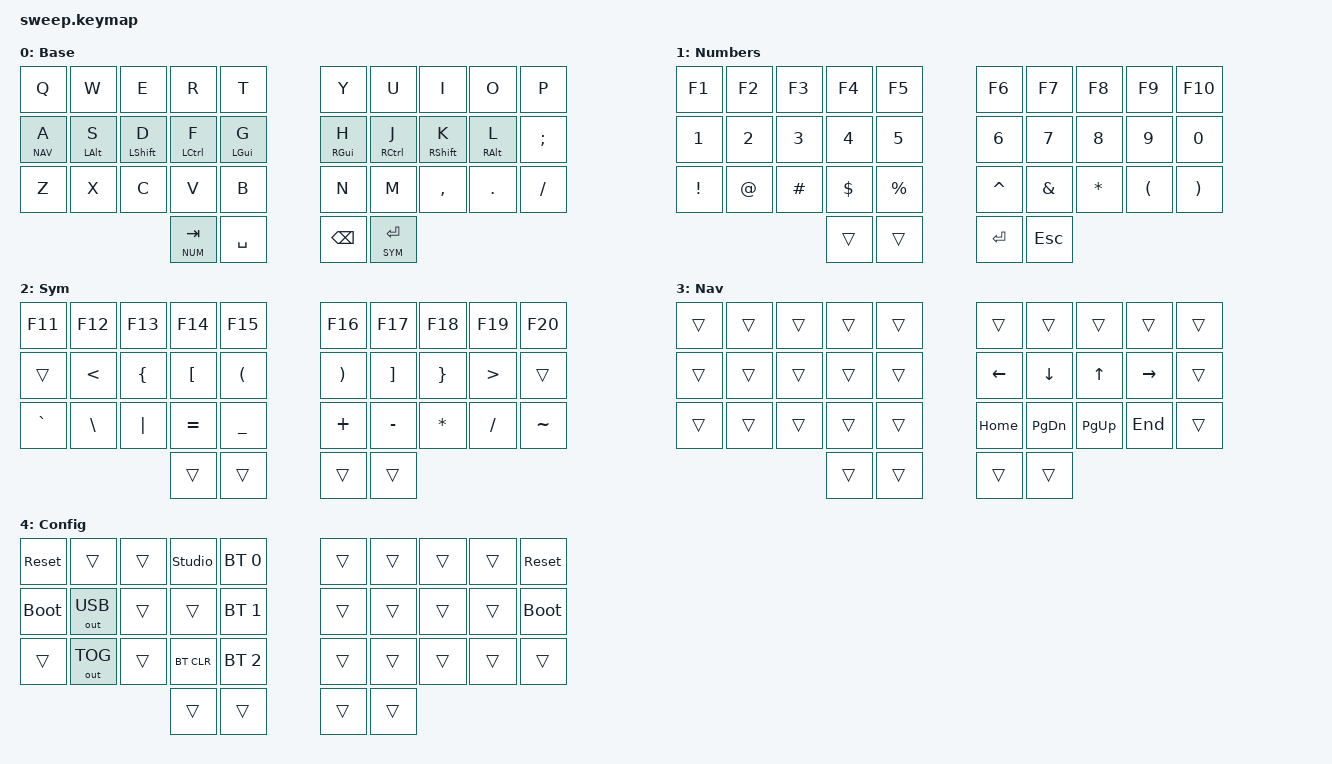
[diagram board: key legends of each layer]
// Copyright (c) 2022 The ZMK Contributors
// SPDX-License-Identifier: MIT

#include <behaviors.dtsi>
#include <dt-bindings/zmk/bt.h>
#include <dt-bindings/zmk/keys.h>
#include <dt-bindings/zmk/outputs.h>

#define DEFAULT 0
#define NUM     1
#define SYM     2
#define NAV     3
#define CFG     4

/ {
    behaviors {
        ht: hold_tap {
            label = "hold_tap";
            compatible = "zmk,behavior-hold-tap";
            #binding-cells = <2>;
            flavor = "tap-preferred";
            tapping-term-ms = <180>;
            require-prior-idle-ms = <80>;
            quick-tap-ms = <50>;
            global-quick-tap;
            bindings = <&kp>, <&kp>;
        };

        st: shift_tap {
            label = "shift_tap";
            compatible = "zmk,behavior-hold-tap";
            #binding-cells = <2>;
            flavor = "tap-preferred";
            tapping-term-ms = <120>;
            bindings = <&kp>, <&kp>;
        };
    };

    // Unicode entry via the Linux/IBus "Ctrl+Shift+U <hex> Enter" method,
    // for Russian letters with no good phonetic English-layout equivalent.
    // Needs an IBus-style unicode input method to be active in the OS to
    // work -- verify once flashed, this doesn't work in every app/DE.
    macros {
        ru_yo: ru_yo {
            // ё U+0451
            compatible = "zmk,behavior-macro";
            #binding-cells = <0>;
            bindings
                = <&macro_press &kp LCTRL &kp LSHIFT>
                , <&macro_tap &kp U>
                , <&macro_release &kp LCTRL &kp LSHIFT>
                , <&macro_tap &kp N0 &kp N4 &kp N5 &kp N1>
                , <&macro_tap &kp ENTER>
                ;
        };

        ru_hard_sign: ru_hard_sign {
            // ъ U+044A
            compatible = "zmk,behavior-macro";
            #binding-cells = <0>;
            bindings
                = <&macro_press &kp LCTRL &kp LSHIFT>
                , <&macro_tap &kp U>
                , <&macro_release &kp LCTRL &kp LSHIFT>
                , <&macro_tap &kp N0 &kp N4 &kp N4 &kp A>
                , <&macro_tap &kp ENTER>
                ;
        };

        ru_kha: ru_kha {
            // х U+0445
            compatible = "zmk,behavior-macro";
            #binding-cells = <0>;
            bindings
                = <&macro_press &kp LCTRL &kp LSHIFT>
                , <&macro_tap &kp U>
                , <&macro_release &kp LCTRL &kp LSHIFT>
                , <&macro_tap &kp N0 &kp N4 &kp N4 &kp N5>
                , <&macro_tap &kp ENTER>
                ;
        };
    };

    conditional_layers {
        compatible = "zmk,conditional-layers";

        both_layer {
            if-layers = <NUM SYM>;
            then-layer = <CFG>;
        };
    };

    combos {
        compatible = "zmk,combos";

        combo_esc {
            timeout-ms = <40>;
            key-positions = <3 4>;
            bindings = <&kp ESC>;
            layers = <DEFAULT>;
            require-prior-idle-ms = <250>;
        };

        combo_apos {
            timeout-ms = <40>;
            key-positions = <18 19>;
            bindings = <&kp SQT>;
            layers = <DEFAULT>;
            require-prior-idle-ms = <250>;
        };

        combo_capsword {
            timeout-ms = <40>;
            key-positions = <20 29>;
            bindings = <&caps_word>;
        };

        // Extra Russian letters, typing layer only. Positions are free
        // pairs not used by any other combo above.
        combo_ru_yo {
            timeout-ms = <40>;
            key-positions = <20 21>;
            bindings = <&ru_yo>;
            layers = <DEFAULT>;
            require-prior-idle-ms = <250>;
        };

        combo_ru_hard_sign {
            timeout-ms = <40>;
            key-positions = <28 29>;
            bindings = <&ru_hard_sign>;
            layers = <DEFAULT>;
            require-prior-idle-ms = <250>;
        };

        combo_ru_kha {
            timeout-ms = <40>;
            key-positions = <8 9>;
            bindings = <&ru_kha>;
            layers = <DEFAULT>;
            require-prior-idle-ms = <250>;
        };
    };

    keymap {
        compatible = "zmk,keymap";

        default_layer {
            display-name = "Base";
            bindings = <
&kp Q      &kp W       &kp E         &kp R        &kp T       &kp Y        &kp U        &kp I         &kp O       &kp P
&lt NAV A  &ht LALT S  &ht LSHIFT D  &ht LCTRL F  &ht LGUI G  &ht RGUI H   &ht RCTRL J  &ht RSHIFT K  &ht RALT L  &kp SEMI
&kp Z      &kp X       &kp C         &kp V        &kp B       &kp N        &kp M        &kp COMMA     &kp DOT     &kp FSLH
                                   &lt NUM TAB  &kp SPACE               &kp BSPC     &lt SYM ENTER
            >;
        };

        num_layer {
            display-name = "Numbers";
            bindings = <
&kp F1    &kp F2  &kp F3    &kp F4    &kp F5     &kp F6     &kp F7    &kp F8     &kp F9    &kp F10
&kp N1    &kp N2  &kp N3    &kp N4    &kp N5     &kp N6     &kp N7    &kp N8     &kp N9    &kp N0
&kp EXCL  &kp AT  &kp HASH  &kp DLLR  &kp PRCNT  &kp CARET  &kp AMPS  &kp ASTRK  &kp LPAR  &kp RPAR
                            &trans    &trans                &kp ENTER  &kp ESC
            >;
        };

        sym_layer {
            display-name = "Sym";
            bindings = <
&kp F11  &kp F12  &kp F13   &kp F14   &kp F15   &kp F16   &kp F17   &kp F18   &kp F19  &kp F20
&trans   &kp LT   &kp LBRC  &kp LBKT  &kp LPAR  &kp RPAR  &kp RBKT  &kp RBRC  &kp GT   &trans
&kp GRAVE &kp BSLH &kp PIPE  &kp EQUAL &kp UNDER  &kp PLUS  &kp MINUS &kp ASTRK &kp FSLH &kp TILDE
                                &trans     &trans               &trans    &trans
            >;
        };

        nav_layer {
            display-name = "Nav";
            bindings = <
&trans  &trans  &trans  &trans  &trans   &trans     &trans     &trans     &trans    &trans
&trans  &trans  &trans  &trans  &trans   &kp LEFT   &kp DOWN   &kp UP     &kp RIGHT &trans
&trans  &trans  &trans  &trans  &trans   &kp HOME   &kp PG_DN  &kp PG_UP  &kp END   &trans
                         &trans  &trans              &trans     &trans
            >;
        };

        both_layer {
            display-name = "Config";
            bindings = <
&sys_reset   &trans      &trans  &studio_unlock  &bt BT_SEL 0  &trans  &trans  &trans  &trans  &sys_reset
&bootloader  &out OUT_USB  &trans  &trans          &bt BT_SEL 1  &trans  &trans  &trans  &trans  &bootloader
&trans       &out OUT_TOG  &trans  &bt BT_CLR      &bt BT_SEL 2  &trans  &trans  &trans  &trans  &trans
                             &trans          &trans                &trans  &trans
            >;
        };
    };
};
